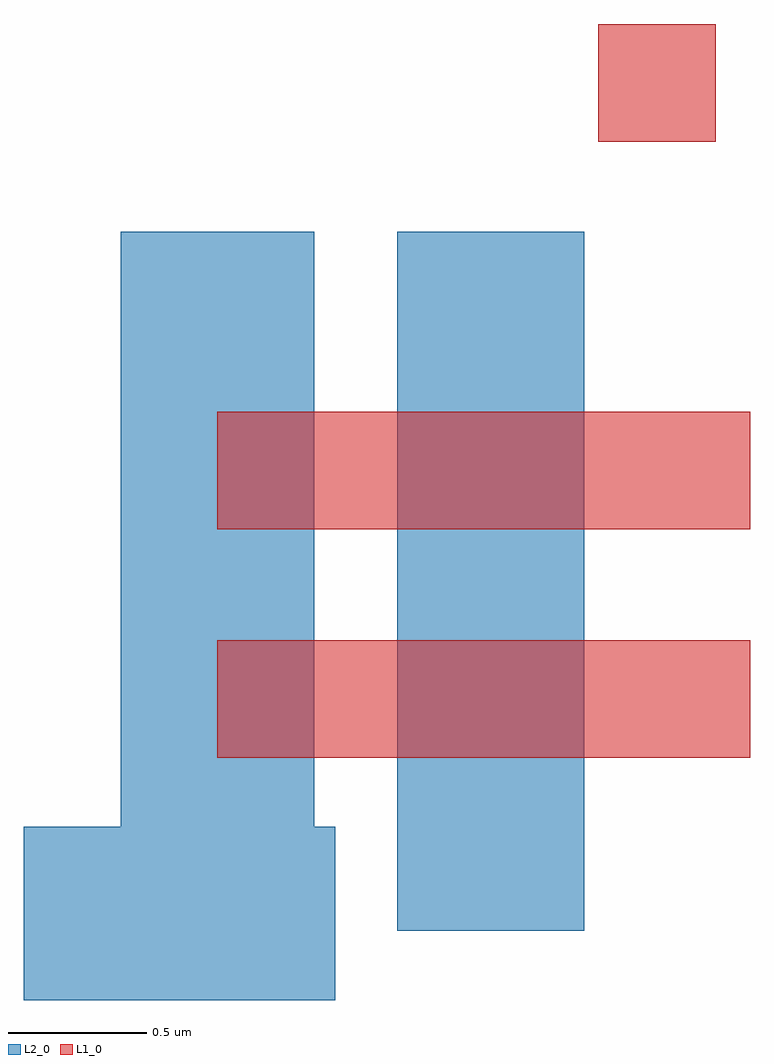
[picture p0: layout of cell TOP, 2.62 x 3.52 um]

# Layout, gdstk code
from math import pi, radians
import gdstk
lib = gdstk.Library(unit=1e-6, precision=1e-09)
def R(c, l, rs):  # rectangles x0, y0, x1, y1
    for r in rs: c.add(gdstk.rectangle(r[:2], r[2:], *l))
L1_0 = (1, 0)
L2_0 = (2, 0)

c_b = lib.new_cell('B')
R(c_b, L1_0, [(-0.2,-0.2,0.225,0.225)])

c_a = lib.new_cell('A')
R(c_a, L1_0, [(-0.125,0.075,1.8,0.5)])
R(c_a, L2_0, [(0.525,-0.55,1.2,1.15)])
c_a.add(gdstk.Reference(c_b, (0.4,0.275), rotation=pi/2))
c_a.add(gdstk.Reference(c_b, (1.325,0.275), rotation=pi/2))

top = lib.new_cell('TOP')
R(top, L1_0, [(1.825,1.775,2.25,2.2)])
R(top, L2_0, [(-0.25,-1.325,0.875,-0.7), (0.1,-1.1,0.8,1.45), (1.1,-0.775,1.775,1.25)])
top.add(gdstk.Reference(c_a, (0.575,0.3)))
top.add(gdstk.Reference(c_a, (0.575,-0.525)))
top.add(gdstk.Reference(c_b, (2.05,1.975), rotation=pi/2))

lib.write_gds('TOP.gds')
